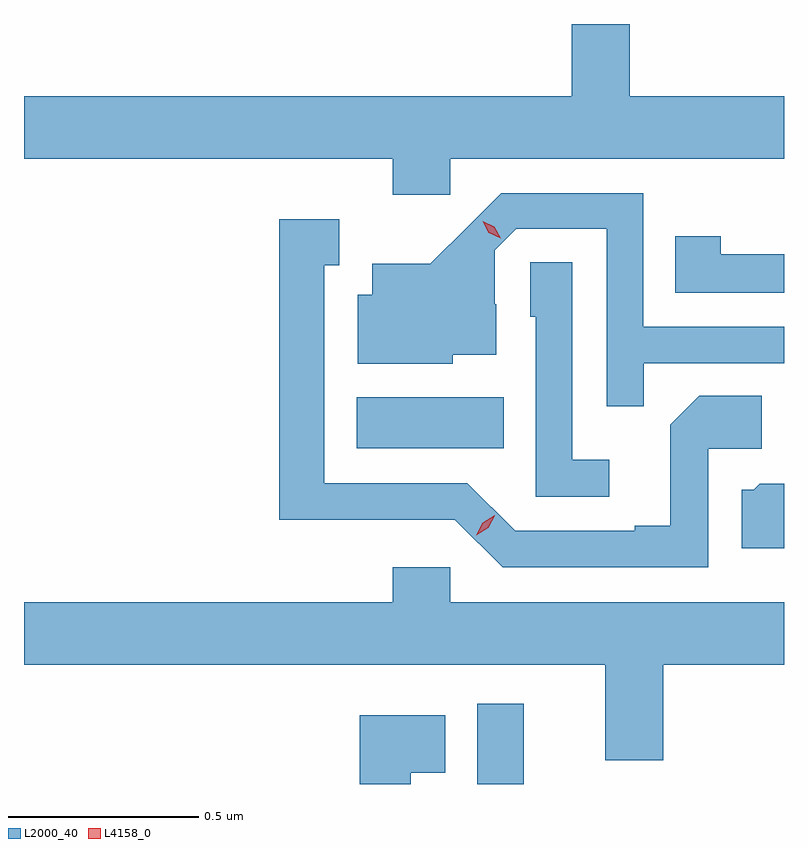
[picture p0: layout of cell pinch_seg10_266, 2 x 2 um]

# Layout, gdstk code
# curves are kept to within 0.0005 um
import gdstk
lib = gdstk.Library(unit=1e-6, precision=1e-09)
def R(c, l, rs):  # rectangles x0, y0, x1, y1
    for r in rs: c.add(gdstk.rectangle(r[:2], r[2:], *l))
def P(c, l, *ps):  # polygons
    for p in ps: c.add(gdstk.Polygon(p, *l))
L2000_40 = (2000, 40)
L4158_0 = (4158, 0)

pinch_seg10_266 = lib.new_cell('pinch_seg10_266')
R(pinch_seg10_266, L2000_40, [(581.687,1301.334,581.809,1301.545), (581.369,1302.218,581.756,1302.352)])
P(pinch_seg10_266, L2000_40, [(581.616,1302.98),(582.494,1302.98),(582.494,1303.144),(582.088,1303.144),(582.088,1303.334),(581.936,1303.334),(581.936,1303.144),(580.494,1303.144),(580.494,1302.98),(581.465,1302.98),(581.465,1302.885),(581.616,1302.885)],
  [(582.125,1302.441),(582.494,1302.441),(582.494,1302.537),(582.123,1302.537),(582.123,1302.888),(581.75,1302.888),(581.563,1302.703),(581.411,1302.703),(581.411,1302.622),(581.372,1302.622),(581.372,1302.44),(581.622,1302.44),(581.622,1302.464),(581.737,1302.464),(581.737,1302.596),(581.733,1302.596),(581.733,1302.738),(581.79,1302.795),(582.027,1302.795),(582.027,1302.328),(582.125,1302.328)],
  [(582.294,1302.216),(582.436,1302.216),(582.436,1302.356),(582.271,1302.356),(582.195,1302.28),(582.195,1302.013),(582.101,1302.013),(582.101,1302),(581.787,1302),(581.661,1302.126),(581.284,1302.126),(581.284,1302.699),(581.323,1302.699),(581.323,1302.82),(581.166,1302.82),(581.166,1302.029),(581.406,1302.029),(581.406,1302.03),(581.628,1302.03),(581.754,1301.904),(582.294,1301.904)],
  [(582.494,1302.728),(582.327,1302.728),(582.327,1302.775),(582.208,1302.775),(582.208,1302.627),(582.494,1302.627)],
  [(582.034,1302.187),(581.937,1302.187),(581.937,1302.707),(581.826,1302.707),(581.826,1302.564),(581.841,1302.564),(581.841,1302.09),(582.034,1302.09)],
  [(582.494,1302.124),(582.43,1302.124),(582.414,1302.108),(582.383,1302.108),(582.383,1301.954),(582.494,1301.954)],
  [(582.176,1301.648),(582.494,1301.648),(582.494,1301.812),(581.616,1301.812),(581.616,1301.905),(581.465,1301.905),(581.465,1301.812),(580.494,1301.812),(580.494,1301.648),(582.023,1301.648),(582.023,1301.396),(582.176,1301.396)],
  [(581.512,1301.363),(581.602,1301.363),(581.602,1301.515),(581.378,1301.515),(581.378,1301.334),(581.512,1301.334)])
P(pinch_seg10_266, L4158_0, [(581.748,1302.77),(581.717,1302.785),(581.701,1302.815),(581.701,1302.815),(581.701,1302.815),(581.731,1302.8),(581.748,1302.77),(581.748,1302.77)],
  [(581.684,1301.988),(581.684,1301.989),(581.701,1302.022),(581.733,1302.041),(581.733,1302.041),(581.733,1302.04),(581.716,1302.008),(581.684,1301.988)])

lib.write_gds('pinch_seg10_266.gds')
